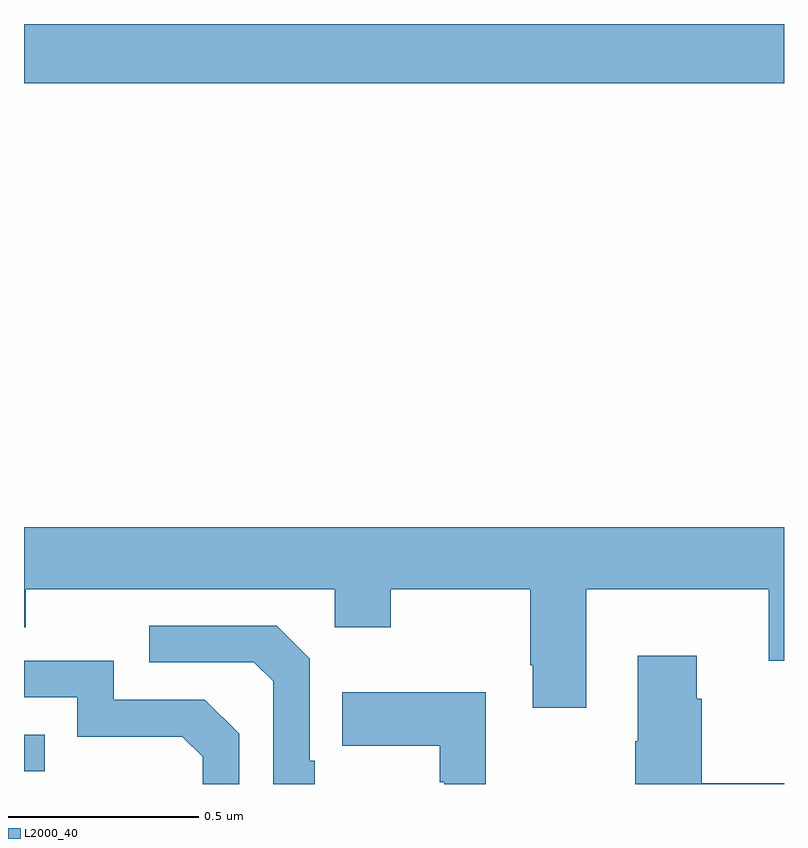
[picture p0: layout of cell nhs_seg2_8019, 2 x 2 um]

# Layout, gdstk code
import gdstk
lib = gdstk.Library(unit=1e-6, precision=1e-09)
def R(c, l, rs):  # rectangles x0, y0, x1, y1
    for r in rs: c.add(gdstk.rectangle(r[:2], r[2:], *l))
def P(c, l, *ps):  # polygons
    for p in ps: c.add(gdstk.Polygon(p, *l))
L2000_40 = (2000, 40)

nhs_seg2_8019 = lib.new_cell('nhs_seg2_8019')
R(nhs_seg2_8019, L2000_40, [(211,637.833,211.055,637.929), (211,639.644,213,639.8)])
P(nhs_seg2_8019, L2000_40, [(212.479,638.312),(212.96,638.312),(212.96,638.124),(213,638.124),(213,638.476),(211,638.476),(211,638.213),(211.005,638.213),(211.005,638.312),(211.818,638.312),(211.818,638.213),(211.965,638.213),(211.965,638.312),(212.332,638.312),(212.332,638.113),(212.339,638.113),(212.339,638.001),(212.479,638.001)],
  [(211.765,637.861),(211.752,637.861),(211.752,638.13),(211.665,638.217),(211.329,638.217),(211.329,638.121),(211.605,638.121),(211.656,638.07),(211.656,637.8),(211.765,637.8)],
  [(213,637.802),(212.783,637.802),(212.783,638.024),(212.77,638.024),(212.77,638.137),(212.615,638.137),(212.615,637.913),(212.608,637.913),(212.608,637.8),(213,637.8)],
  [(211.566,637.932),(211.476,638.022),(211.236,638.022),(211.236,638.124),(211,638.124),(211,638.028),(211.14,638.028),(211.14,637.925),(211.417,637.925),(211.47,637.872),(211.47,637.8),(211.566,637.8)],
  [(212.215,638.041),(211.837,638.041),(211.837,637.901),(212.094,637.901),(212.094,637.805),(212.106,637.805),(212.106,637.8),(212.215,637.8)])

lib.write_gds('nhs_seg2_8019.gds')
